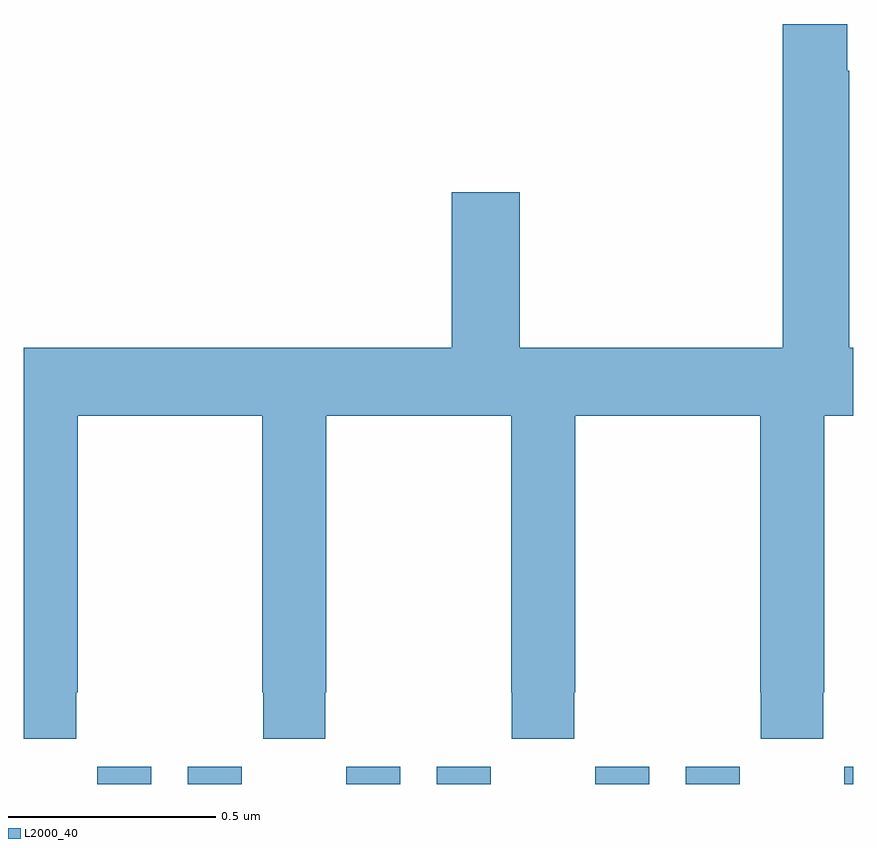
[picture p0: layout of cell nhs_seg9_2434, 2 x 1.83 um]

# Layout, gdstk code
import gdstk
lib = gdstk.Library(unit=1e-6, precision=1e-09)
def R(c, l, rs):  # rectangles x0, y0, x1, y1
    for r in rs: c.add(gdstk.rectangle(r[:2], r[2:], *l))
def P(c, l, *ps):  # polygons
    for p in ps: c.add(gdstk.Polygon(p, *l))
L2000_40 = (2000, 40)

nhs_seg9_2434 = lib.new_cell('nhs_seg9_2434')
R(nhs_seg9_2434, L2000_40, [(140.178,1227.5,140.308,1227.541), (140.396,1227.5,140.526,1227.541), (140.778,1227.5,140.908,1227.541), (140.996,1227.5,141.126,1227.541), (141.378,1227.5,141.508,1227.541), (141.596,1227.5,141.726,1227.541), (141.978,1227.5,142,1227.541)])
P(nhs_seg9_2434, L2000_40, [(140.127,1227.721),(140.13,1227.721),(140.13,1228.388),(140.575,1228.388),(140.575,1227.721),(140.577,1227.721),(140.577,1227.609),(140.727,1227.609),(140.727,1227.721),(140.73,1227.721),(140.73,1228.388),(141.175,1228.388),(141.175,1227.721),(141.177,1227.721),(141.177,1227.609),(141.327,1227.609),(141.327,1227.721),(141.33,1227.721),(141.33,1228.388),(141.775,1228.388),(141.775,1227.721),(141.777,1227.721),(141.777,1227.609),(141.927,1227.609),(141.927,1227.721),(141.93,1227.721),(141.93,1228.388),(142,1228.388),(142,1228.552),(141.99,1228.552),(141.99,1229.219),(141.985,1229.219),(141.985,1229.332),(141.83,1229.332),(141.83,1228.552),(141.196,1228.552),(141.196,1228.927),(141.032,1228.927),(141.032,1228.552),(140,1228.552),(140,1227.609),(140.127,1227.609)])

lib.write_gds('nhs_seg9_2434.gds')
